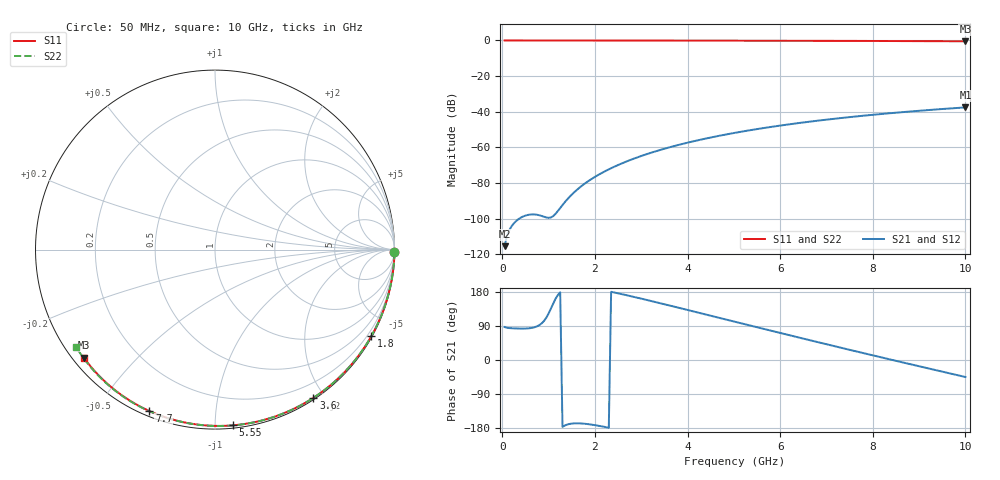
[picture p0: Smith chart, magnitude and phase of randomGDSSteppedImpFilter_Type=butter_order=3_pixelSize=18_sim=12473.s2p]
! freq	dB(S11)	phase(S11)	dB(S12)	phase(S12)
!  dB(S21)	phase(S21)	dB(S22)	phase(S22)
!S-par simulation data
#  GHz  S  DB  R 50
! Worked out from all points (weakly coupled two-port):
!   200 points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, 50 MHz to 10 GHz, reference 50 ohm
!   highest |S21| = -37.58 dB at 10 GHz (marker M1); lowest = -115.5 dB at 50 MHz (marker M2)
!   lowest |S11| = -0.5 dB at 10 GHz (marker M3), VSWR 36.61, Z = 1.54 - j17.9 ohm
!   |S11| at or under -10 dB: nowhere
!   |S22| runs from -0.5 to 0.0 dB; largest |S21 - S12| = 0
!   S11 on the Smith chart (normalised r, x): 50 MHz: open; 1.8 GHz: 0.03, -3.88; 3.6 GHz: 0.02, -1.86; 5.55 GHz: 0.02, -1.11; 7.7 GHz: 0.02, -0.67; 10 GHz: 0.03, -0.36
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0.05  -0.00 -0.8  -115.47 87.0  -115.47 87.0  -0.00 -0.8
0.45  -0.01 -7.3  -98.80 82.9  -98.80 82.9  -0.01 -7.6
0.9  -0.02 -14.6  -98.95 103.0  -98.95 103.0  -0.02 -15.1
1.3  -0.03 -21.0  -92.36 -176.4  -92.36 -176.4  -0.03 -21.6
1.75  -0.04 -28.1  -80.94 -167.9  -80.94 -167.9  -0.04 -29.0
1.8  -0.04 -28.9  -79.98 -168.5  -79.98 -168.5  -0.04 -29.8
1.95  -0.04 -31.3  -77.37 -170.9  -77.37 -170.9  -0.04 -32.2
2.1  -0.04 -33.6  -75.07 -174.0  -75.07 -174.0  -0.04 -34.6
2.3  -0.05 -36.7  -72.34 -178.7  -72.34 -178.7  -0.05 -37.8
2.5  -0.05 -39.8  -69.92 176.0  -69.92 176.0  -0.05 -41.0
2.9  -0.06 -45.9  -65.77 164.9  -65.77 164.9  -0.06 -47.3
3.4  -0.07 -53.4  -61.53 150.2  -61.53 150.2  -0.07 -55.1
3.6  -0.08 -56.4  -60.04 144.2  -60.04 144.2  -0.08 -58.1
4.3  -0.09 -66.6  -55.58 122.9  -55.58 122.9  -0.10 -68.6
5.05  -0.12 -77.2  -51.72 100.1  -51.72 100.1  -0.12 -79.5
5.55  -0.14 -84.1  -49.54 85.0  -49.54 85.0  -0.14 -86.6
6.1  -0.16 -91.5  -47.41 68.4  -47.41 68.4  -0.17 -94.1
6.7  -0.19 -99.4  -45.37 50.5  -45.37 50.5  -0.20 -102.3
7.7  -0.26 -112.1  -42.49 21.0  -42.49 21.0  -0.26 -115.4
8.35  -0.31 -120.3  -40.89 2.1  -40.89 2.1  -0.32 -123.8
9.2  -0.39 -130.7  -39.06 -22.2  -39.06 -22.2  -0.40 -134.6
10  -0.47 -140.5  -37.58 -44.9  -37.58 -44.9  -0.49 -144.8
